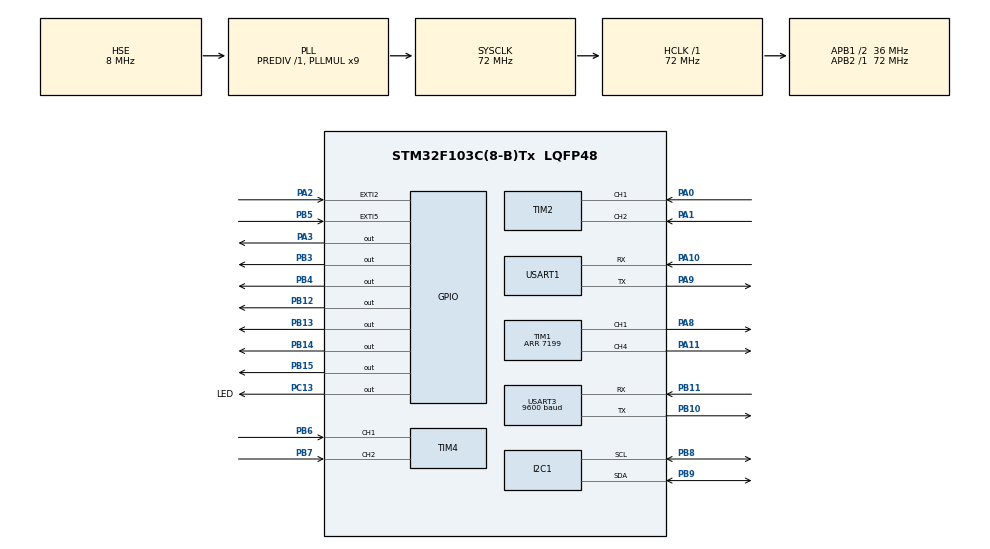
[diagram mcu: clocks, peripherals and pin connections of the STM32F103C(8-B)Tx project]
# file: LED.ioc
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Mcu.Family=STM32F1
Mcu.Name=STM32F103C(8-B)Tx
Mcu.Package=LQFP48
NVIC.EXTI2_IRQn=true\:0\:0\:false\:false\:true\:true\:true\:true
NVIC.EXTI9_5_IRQn=true\:0\:0\:false\:false\:true\:true\:true\:true
NVIC.PriorityGroup=NVIC_PRIORITYGROUP_4
NVIC.USART3_IRQn=true\:0\:0\:false\:false\:true\:true\:true\:true
PA0-WKUP.Signal=S_TIM2_CH1_ETR
PA1.Signal=S_TIM2_CH2
PA10.Mode=Asynchronous
PA10.Signal=USART1_RX
PA11.Signal=S_TIM1_CH4
PA13.Mode=Serial_Wire
PA13.Signal=SYS_JTMS-SWDIO
PA14.Mode=Serial_Wire
PA14.Signal=SYS_JTCK-SWCLK
PA2.GPIO_ModeDefaultEXTI=GPIO_MODE_IT_RISING_FALLING
PA2.Signal=GPXTI2
PA3.GPIO_Speed=GPIO_SPEED_FREQ_HIGH
PA3.Signal=GPIO_Output
PA8.Signal=S_TIM1_CH1
PA9.Mode=Asynchronous
PA9.Signal=USART1_TX
PB10.Mode=Asynchronous
PB10.Signal=USART3_TX
PB11.Mode=Asynchronous
PB11.Signal=USART3_RX
PB12.Signal=GPIO_Output
PB13.Signal=GPIO_Output
PB14.Signal=GPIO_Output
PB15.Signal=GPIO_Output
PB3.Signal=GPIO_Output
PB4.Signal=GPIO_Output
PB5.GPIO_ModeDefaultEXTI=GPIO_MODE_IT_FALLING
PB5.GPIO_PuPd=GPIO_PULLUP
PB5.Signal=GPXTI5
PB6.Signal=S_TIM4_CH1
PB7.Signal=S_TIM4_CH2
PB8.Mode=I2C
PB8.Signal=I2C1_SCL
PB9.Mode=I2C
PB9.Signal=I2C1_SDA
PC13-TAMPER-RTC.GPIO_Label=LED
PC13-TAMPER-RTC.GPIO_Speed=GPIO_SPEED_FREQ_HIGH
PC13-TAMPER-RTC.PinState=GPIO_PIN_RESET
PC13-TAMPER-RTC.Signal=GPIO_Output
PD0-OSC_IN.Mode=HSE-External-Oscillator
PD0-OSC_IN.Signal=RCC_OSC_IN
PD1-OSC_OUT.Mode=HSE-External-Oscillator
PD1-OSC_OUT.Signal=RCC_OSC_OUT
ProjectManager.HeapSize=0x200
ProjectManager.StackSize=0x400
ProjectManager.TargetToolchain=MDK-ARM V5.32
RCC.AHBFreq_Value=72000000
RCC.APB1CLKDivider=RCC_HCLK_DIV2
RCC.APB1Freq_Value=36000000
RCC.APB1TimFreq_Value=72000000
RCC.APB2Freq_Value=72000000
RCC.APB2TimFreq_Value=72000000
RCC.HCLKFreq_Value=72000000
RCC.PLLMUL=RCC_PLL_MUL9
RCC.PLLSourceVirtual=RCC_PLLSOURCE_HSE
RCC.SYSCLKFreq_VALUE=72000000
RCC.SYSCLKSource=RCC_SYSCLKSOURCE_PLLCLK
RCC.USBFreq_Value=72000000
SH.S_TIM1_CH1.0=TIM1_CH1,PWM Generation1 CH1
SH.S_TIM1_CH4.0=TIM1_CH4,PWM Generation4 CH4
SH.S_TIM2_CH1_ETR.0=TIM2_CH1,Encoder_Interface
SH.S_TIM2_CH2.0=TIM2_CH2,Encoder_Interface
SH.S_TIM4_CH1.0=TIM4_CH1,Encoder_Interface
SH.S_TIM4_CH2.0=TIM4_CH2,Encoder_Interface
TIM1.Channel-PWM\ Generation1\ CH1=TIM_CHANNEL_1
TIM1.Channel-PWM\ Generation4\ CH4=TIM_CHANNEL_4
TIM1.Period=7199
TIM1.Pulse-PWM\ Generation1\ CH1=0
TIM1.Pulse-PWM\ Generation4\ CH4=0
TIM2.EncoderMode=TIM_ENCODERMODE_TI12
TIM3.Prescaler=71
TIM4.EncoderMode=TIM_ENCODERMODE_TI12
USART1.VirtualMode=VM_ASYNC
USART3.BaudRate=9600
USART3.VirtualMode=VM_ASYNC
VP_TIM3_VS_ClockSourceINT.Mode=Internal
board=custom

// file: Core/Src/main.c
/* USER CODE BEGIN Header */
/**
  ******************************************************************************
  * @file           : main.c
  * @brief          : Main program body
  ******************************************************************************
  * @attention
  *
  * Copyright (c) 2025 STMicroelectronics.
  * All rights reserved.
  *
  * This software is licensed under terms that can be found in the LICENSE file
  * in the root directory of this software component.
  * If no LICENSE file comes with this software, it is provided AS-IS.
  *
  ******************************************************************************
  */
/* USER CODE END Header */
#include "main.h"
#include "i2c.h"
#include "tim.h"
#include "usart.h"
#include "gpio.h"

/* USER CODE BEGIN Includes */
#include "stdio.h"
#include "oled.h"
#include "inv_mpu.h"
#include "inv_mpu_dmp_motion_driver.h"
#include "mpu6050.h"
#include "sr04.h"
#include "mortor.h"
#include "encoder.h"
/* USER CODE END Includes */

/* USER CODE BEGIN PV */

uint8_t display_buf[20];//缓冲函数
extern float distance,pitch,roll,yaw;
uint32_t sys_tick;
uint8_t rx_buf[2];
extern int Encoder_Left,Encoder_Right;
extern short gyrox;
/* USER CODE END PV */

void SystemClock_Config(void);
/* USER CODE BEGIN PFP */
void Read(void);
/* USER CODE END PFP */

int main(void)
{

  /* MCU Configuration--------------------------------------------------------*/

  /* Reset of all peripherals, Initializes the Flash interface and the Systick. */
  HAL_Init();

  /* Configure the system clock */
  SystemClock_Config();

  /* Initialize all configured peripherals */
  MX_GPIO_Init();
  MX_I2C1_Init();
  MX_TIM3_Init();
  MX_USART1_UART_Init();
  MX_TIM1_Init();
  MX_TIM2_Init();
  MX_TIM4_Init();
  MX_USART3_UART_Init();
  /* USER CODE BEGIN 2 */
		OLED_Init();
		OLED_Clear();

		MPU_Init();
		mpu_dmp_init();
		OLED_ShowString(0,0,"initsuccess",16);
		HAL_NVIC_SetPriority(EXTI9_5_IRQn, 0, 0);
    HAL_NVIC_EnableIRQ(EXTI9_5_IRQn);
		HAL_TIM_PWM_Start(&htim1,TIM_CHANNEL_1);
		HAL_TIM_PWM_Start(&htim1,TIM_CHANNEL_4);
		HAL_TIM_Encoder_Start(&htim2,TIM_CHANNEL_ALL);
		HAL_TIM_Encoder_Start(&htim4,TIM_CHANNEL_ALL);
		load(0,0);
		HAL_UART_Transmit(&huart3,"helloworld/r/n",10,1000);
		OLED_Clear();

  /* USER CODE END 2 */

  /* Infinite loop */
  /* USER CODE BEGIN WHILE */
  while (1)
  {
		Read();

		sprintf((char*)display_buf,"Encoder_L:%d",Encoder_Left);
		OLED_ShowString(0,0,display_buf,16);
		sprintf((char*)display_buf,"Encoder_R:%d",Encoder_Right);
		OLED_ShowString(0,2,display_buf,16);
		mpu_dmp_get_data(&pitch,&roll,&yaw);
		sprintf((char*)display_buf,"roll:%.1f",(float)gyrox);
		OLED_ShowString(0,4,display_buf,16);
		get_distance();
		sprintf((char*)display_buf,"distance:%.2f",distance);
		OLED_ShowString(0,6,display_buf,12);

//		OLED_ShowString(0,4,display_buf,16);
//		sprintf((char*)display_buf,"pitch:%.2f",pitch);
//		OLED_ShowString(0,2,display_buf,16);
//		sprintf((char*)display_buf,"yaw:%.2f",yaw);
//		OLED_ShowString(0,6,display_buf,16);
//
//		get_distance();
//		sprintf((char*)display_buf,"distance:%.2f",distance);
//		OLED_ShowString(0,8,display_buf,12);

    /* USER CODE END WHILE */

  }
}

void SystemClock_Config(void)
{
  RCC_OscInitTypeDef RCC_OscInitStruct = {0};
  RCC_ClkInitTypeDef RCC_ClkInitStruct = {0};

  /** Initializes the RCC Oscillators according to the specified parameters
  * in the RCC_OscInitTypeDef structure.
  */
  RCC_OscInitStruct.OscillatorType = RCC_OSCILLATORTYPE_HSE;
  RCC_OscInitStruct.HSEState = RCC_HSE_ON;
  RCC_OscInitStruct.HSEPredivValue = RCC_HSE_PREDIV_DIV1;
  RCC_OscInitStruct.HSIState = RCC_HSI_ON;
  RCC_OscInitStruct.PLL.PLLState = RCC_PLL_ON;
  RCC_OscInitStruct.PLL.PLLSource = RCC_PLLSOURCE_HSE;
  RCC_OscInitStruct.PLL.PLLMUL = RCC_PLL_MUL9;
  if (HAL_RCC_OscConfig(&RCC_OscInitStruct) != HAL_OK)
  {
    Error_Handler();
  }

  /** Initializes the CPU, AHB and APB buses clocks
  */
  RCC_ClkInitStruct.ClockType = RCC_CLOCKTYPE_HCLK|RCC_CLOCKTYPE_SYSCLK
                              |RCC_CLOCKTYPE_PCLK1|RCC_CLOCKTYPE_PCLK2;
  RCC_ClkInitStruct.SYSCLKSource = RCC_SYSCLKSOURCE_PLLCLK;
  RCC_ClkInitStruct.AHBCLKDivider = RCC_SYSCLK_DIV1;
  RCC_ClkInitStruct.APB1CLKDivider = RCC_HCLK_DIV2;
  RCC_ClkInitStruct.APB2CLKDivider = RCC_HCLK_DIV1;

  if (HAL_RCC_ClockConfig(&RCC_ClkInitStruct, FLASH_LATENCY_2) != HAL_OK)
  {
    Error_Handler();
  }
}

/* USER CODE BEGIN 4 */
void Read(void)
{
	if(uwTick-sys_tick<10)
		return;
	sys_tick=uwTick;
	Encoder_Left=Read_Speed(&htim2);
	Encoder_Right=-Read_Speed(&htim4);

}

/* USER CODE END 4 */

void Error_Handler(void)
{
  __disable_irq();
  while (1)
  {
  }
}
